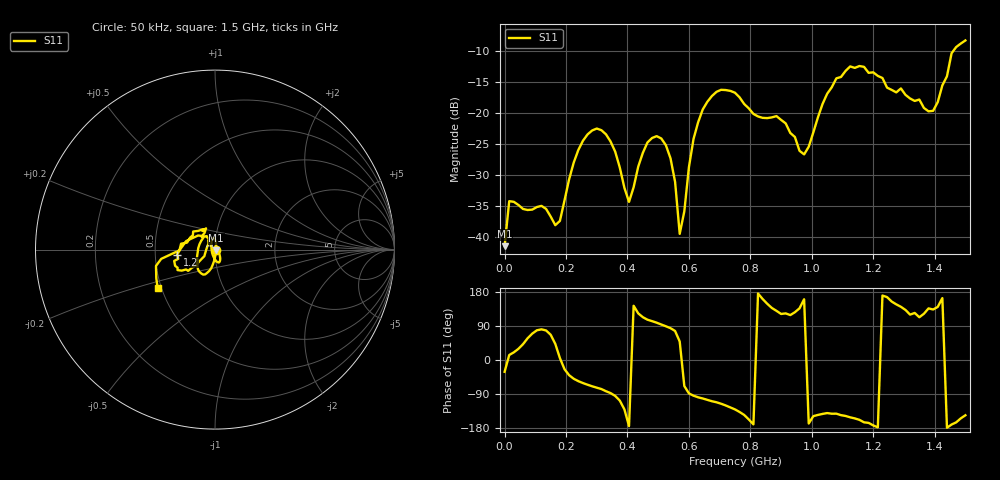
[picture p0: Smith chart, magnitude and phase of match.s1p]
! Created with skrf 1.8.0 (http://scikit-rf.org).
# Hz S RI R 50.0
!freq ReS11 ImS11
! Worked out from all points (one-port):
!   101 points, 50 kHz to 1.5 GHz, reference 50 ohm
!   lowest |S11| = -41.5 dB at 50 kHz (marker M1), VSWR 1.02, Z = 50.7 - j0.441 ohm
!   |S11| at or under -10 dB: start of sweep to 1.46 GHz
!   S11 on the Smith chart (normalised r, x): 50 kHz: 1.01, -0.01; 1.2 GHz: 0.65, -0.04; 1.5 GHz: 0.48, -0.24
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50000  0.00721 -0.00435
1.50495e7  0.0189 0.0044
1.20046e8  0.00282 0.0176
1.650445e8  0.00917 0.00841
1.950435e8  0.018 -0.0081
2.40042e8  0.0283 -0.0417
2.850405e8  0.0255 -0.0677
3.30039e8  0.00892 -0.0667
3.750375e8  -0.0107 -0.0347
4.050365e8  -0.0191 -0.00187
4.650345e8  -0.0163 0.0555
5.10033e8  -0.00395 0.0622
5.40032e8  0.00452 0.0429
5.550315e8  0.00647 0.027
5.70031e8  0.00698 0.00795
6.150295e8  -0.00449 -0.0616
6.450285e8  -0.0214 -0.1047
6.90027e8  -0.0547 -0.1381
7.50025e8  -0.0945 -0.1111
9.450185e8  -0.0378 0.0518
9.750175e8  -0.0436 0.0156
1.050015e9  -0.1097 -0.0919
1.125012e9  -0.2088 -0.1142
1.20001e9  -0.2114 -0.0276
1.320006e9  -0.0651 0.1138
1.395004e9  -0.0714 0.0759
1.455002e9  -0.2995 -0.0515
1.5e9  -0.3192 -0.2162
